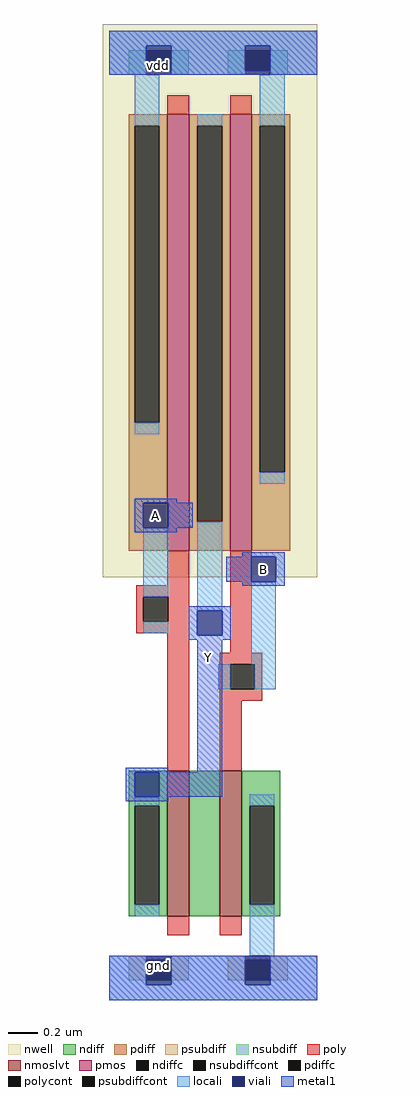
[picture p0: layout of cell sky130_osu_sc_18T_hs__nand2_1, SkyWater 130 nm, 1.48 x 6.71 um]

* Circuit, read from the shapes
.subckt sky130_osu_sc_18T_hs__nand2_1 Y A B
XM1 n1 A Y gnd sky130_fd_pr__nfet_01v8_lvt w=1 l=0.15
XM2 gnd B n1 gnd sky130_fd_pr__nfet_01v8_lvt w=1 l=0.15
XM3 Y A vdd vdd sky130_fd_pr__pfet_01v8 w=3 l=0.15
XM4 vdd B Y vdd sky130_fd_pr__pfet_01v8 w=3 l=0.15
.ends

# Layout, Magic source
magic
tech sky130A
magscale 1 2
<< nwell >>
rect -9 581 286 1341
<< pmos >>
rect 80 617 110 1217
rect 166 617 196 1217
<< nmoslvt >>
rect 80 115 110 315
rect 152 115 182 315
<< ndiff >>
rect 27 267 80 315
rect 27 131 35 267
rect 69 131 80 267
rect 27 115 80 131
rect 110 115 152 315
rect 182 267 235 315
rect 182 131 193 267
rect 227 131 235 267
rect 182 115 235 131
<< pdiff >>
rect 27 1201 80 1217
rect 27 793 35 1201
rect 69 793 80 1201
rect 27 617 80 793
rect 110 1201 166 1217
rect 110 657 121 1201
rect 155 657 166 1201
rect 110 617 166 657
rect 196 1201 249 1217
rect 196 725 207 1201
rect 241 725 249 1201
rect 196 617 249 725
<< ndiffc >>
rect 35 131 69 267
rect 193 131 227 267
<< pdiffc >>
rect 35 793 69 1201
rect 121 657 155 1201
rect 207 725 241 1201
<< psubdiff >>
rect 27 27 51 61
rect 85 27 109 61
rect 163 27 187 61
rect 221 27 245 61
<< nsubdiff >>
rect 27 1271 51 1305
rect 85 1271 109 1305
rect 163 1271 187 1305
rect 221 1271 245 1305
<< psubdiffcont >>
rect 51 27 85 61
rect 187 27 221 61
<< nsubdiffcont >>
rect 51 1271 85 1305
rect 187 1271 221 1305
<< poly >>
rect 80 1217 110 1243
rect 166 1217 196 1243
rect 80 570 110 617
rect 37 554 110 570
rect 37 520 47 554
rect 81 520 110 554
rect 37 504 110 520
rect 80 315 110 504
rect 166 477 196 617
rect 152 461 210 477
rect 152 427 166 461
rect 200 427 210 461
rect 152 411 210 427
rect 152 315 182 411
rect 80 89 110 115
rect 152 89 182 115
<< polycont >>
rect 47 520 81 554
rect 166 427 200 461
<< locali >>
rect 0 1311 286 1332
rect 0 1271 51 1311
rect 85 1271 187 1311
rect 221 1271 286 1311
rect 35 1201 69 1271
rect 35 777 69 793
rect 121 1201 155 1217
rect 47 554 81 649
rect 47 504 81 520
rect 207 1201 241 1271
rect 207 709 241 725
rect 121 535 155 657
rect 195 461 229 575
rect 150 427 166 461
rect 200 427 229 461
rect 35 267 69 279
rect 35 115 69 131
rect 193 267 227 283
rect 193 61 227 131
rect 0 21 51 61
rect 85 21 187 61
rect 221 21 286 61
rect 0 0 286 21
<< viali >>
rect 51 1305 85 1311
rect 51 1277 85 1305
rect 187 1305 221 1311
rect 187 1277 221 1305
rect 47 649 81 683
rect 121 501 155 535
rect 195 575 229 609
rect 35 279 69 313
rect 51 27 85 55
rect 51 21 85 27
rect 187 27 221 55
rect 187 21 221 27
<< metal1 >>
rect 0 1311 286 1332
rect 0 1277 51 1311
rect 85 1277 187 1311
rect 221 1277 286 1311
rect 0 1271 286 1277
rect 35 683 93 689
rect 35 649 47 683
rect 81 649 115 683
rect 35 643 93 649
rect 183 609 241 615
rect 161 575 195 609
rect 229 575 241 609
rect 183 569 241 575
rect 109 535 167 541
rect 109 501 121 535
rect 155 501 167 535
rect 109 495 167 501
rect 23 313 81 319
rect 121 313 155 495
rect 23 279 35 313
rect 69 279 155 313
rect 23 273 81 279
rect 0 55 286 61
rect 0 21 51 55
rect 85 21 187 55
rect 221 21 286 55
rect 0 0 286 21
<< labels >>
rlabel metal1 136 470 136 470 1 Y
port 1 n
rlabel metal1 64 666 64 666 1 A
port 2 n
rlabel metal1 212 592 212 592 1 B
port 3 n
rlabel viali 68 48 68 48 1 gnd
rlabel viali 68 1284 68 1284 1 vdd
<< end >>
